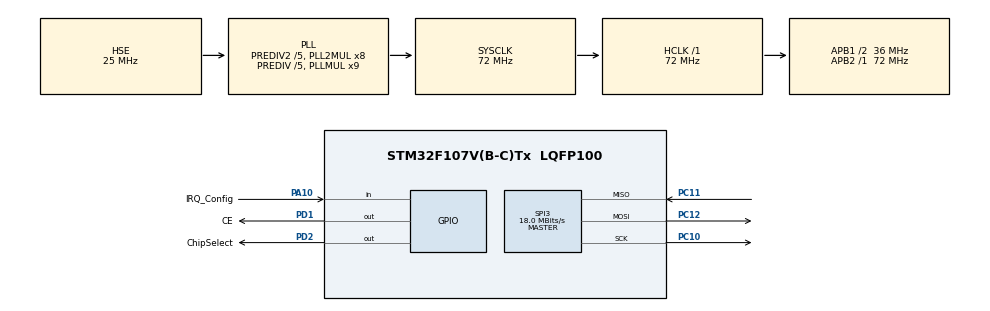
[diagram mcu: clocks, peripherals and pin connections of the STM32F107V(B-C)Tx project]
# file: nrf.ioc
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Mcu.Family=STM32F1
Mcu.Name=STM32F107V(B-C)Tx
Mcu.Package=LQFP100
NVIC.PriorityGroup=NVIC_PRIORITYGROUP_4
OSC_IN.Mode=HSE-External-Oscillator
OSC_IN.Signal=RCC_OSC_IN
OSC_OUT.Mode=HSE-External-Oscillator
OSC_OUT.Signal=RCC_OSC_OUT
PA10.GPIO_Label=IRQ_Config
PA10.GPIO_PuPd=GPIO_PULLUP
PA10.Signal=GPIO_Input
PA13.Mode=Serial_Wire
PA13.Signal=SYS_JTMS-SWDIO
PA14.Mode=Serial_Wire
PA14.Signal=SYS_JTCK-SWCLK
PC10.Mode=Full_Duplex_Master
PC10.Signal=SPI3_SCK
PC11.Mode=Full_Duplex_Master
PC11.Signal=SPI3_MISO
PC12.Mode=Full_Duplex_Master
PC12.Signal=SPI3_MOSI
PD1.GPIO_Label=CE
PD1.Signal=GPIO_Output
PD2.GPIO_Label=ChipSelect
PD2.Signal=GPIO_Output
ProjectManager.HeapSize=0x2000
ProjectManager.StackSize=0x4000
ProjectManager.TargetToolchain=MDK-ARM V5
RCC.AHBFreq_Value=72000000
RCC.APB1CLKDivider=RCC_HCLK_DIV2
RCC.APB1Freq_Value=36000000
RCC.APB1TimFreq_Value=72000000
RCC.APB2Freq_Value=72000000
RCC.APB2TimFreq_Value=72000000
RCC.HCLKFreq_Value=72000000
RCC.HSEDivPLL=RCC_HSE_PREDIV_DIV5
RCC.HSE_VALUE=25000000
RCC.PLLMUL=RCC_PLL_MUL9
RCC.PLLSourceVirtual=RCC_PLLSOURCE_HSE
RCC.Prediv1Source=RCC_PREDIV1_SOURCE_PLL2
RCC.Prediv2=RCC_HSE_PREDIV2_DIV5
RCC.SYSCLKFreq_VALUE=72000000
RCC.SYSCLKSource=RCC_SYSCLKSOURCE_PLLCLK
RCC.USBFreq_Value=48000000
SPI3.CalculateBaudRate=18.0 MBits/s
SPI3.Direction=SPI_DIRECTION_2LINES
SPI3.Mode=SPI_MODE_MASTER
SPI3.VirtualType=VM_MASTER
board=nrf

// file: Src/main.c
/**
  ******************************************************************************
  * @file           : main.c
  * @brief          : Main program body
  ******************************************************************************
  ** This notice applies to any and all portions of this file
  * that are not between comment pairs USER CODE BEGIN and
  * USER CODE END. Other portions of this file, whether
  * inserted by the user or by software development tools
  * are owned by their respective copyright owners.
  *
  * COPYRIGHT(c) 2018 STMicroelectronics
  *
  * Redistribution and use in source and binary forms, with or without modification,
  * are permitted provided that the following conditions are met:
  *   1. Redistributions of source code must retain the above copyright notice,
  *      this list of conditions and the following disclaimer.
  *   2. Redistributions in binary form must reproduce the above copyright notice,
  *      this list of conditions and the following disclaimer in the documentation
  *      and/or other materials provided with the distribution.
  *   3. Neither the name of STMicroelectronics nor the names of its contributors
  *      may be used to endorse or promote products derived from this software
  *      without specific prior written permission.
  *
  * THIS SOFTWARE IS PROVIDED BY THE COPYRIGHT HOLDERS AND CONTRIBUTORS "AS IS"
  * AND ANY EXPRESS OR IMPLIED WARRANTIES, INCLUDING, BUT NOT LIMITED TO, THE
  * IMPLIED WARRANTIES OF MERCHANTABILITY AND FITNESS FOR A PARTICULAR PURPOSE ARE
  * DISCLAIMED. IN NO EVENT SHALL THE COPYRIGHT HOLDER OR CONTRIBUTORS BE LIABLE
  * FOR ANY DIRECT, INDIRECT, INCIDENTAL, SPECIAL, EXEMPLARY, OR CONSEQUENTIAL
  * DAMAGES (INCLUDING, BUT NOT LIMITED TO, PROCUREMENT OF SUBSTITUTE GOODS OR
  * SERVICES; LOSS OF USE, DATA, OR PROFITS; OR BUSINESS INTERRUPTION) HOWEVER
  * CAUSED AND ON ANY THEORY OF LIABILITY, WHETHER IN CONTRACT, STRICT LIABILITY,
  * OR TORT (INCLUDING NEGLIGENCE OR OTHERWISE) ARISING IN ANY WAY OUT OF THE USE
  * OF THIS SOFTWARE, EVEN IF ADVISED OF THE POSSIBILITY OF SUCH DAMAGE.
  *
  ******************************************************************************
  */
#include "main.h"
#include "stm32f1xx_hal.h"

SPI_HandleTypeDef hspi3;
DMA_HandleTypeDef hdma_spi3_tx;

/* USER CODE BEGIN PV */
/* Private variables ---------------------------------------------------------*/

#define RXBUFSIZE 64
#define uchar unsigned char
#define TX_ADR_WIDTH    5   // 5 bytes TX(RX) address width
#define RX_ADR_WIDTH    5   	// 5 uints RX address width
#define TX_PLOAD_WIDTH  16  // 20 bytes TX payload
#define RX_PLOAD_WIDTH  16  	// 16 uints TX payload
unsigned char rx_buf[TX_PLOAD_WIDTH];
unsigned char tx_buf[TX_PLOAD_WIDTH];
unsigned char flag,CurrentData;

unsigned char  TX_ADDRESS[TX_ADR_WIDTH]= {0x34,0x43,0x10,0x10,0xe7};	//????
unsigned char  RX_ADDRESS[RX_ADR_WIDTH]= {0x34,0x43,0x10,0x10,0xe7};	//????
volatile char isSend;

/****************************************************************************************/
#define READ_REGL        0x00  // Define read command to register
#define WRITE_REGL       0x20  // Define write command to register
#define RD_RX_PLOAD     0x61  // Define RX payload register address
#define WR_TX_PLOAD     0xA0  // Define TX payload register address
#define FLUSH_TX        0xE1  // Define flush TX register command
#define FLUSH_RX        0xE2  // Define flush RX register command
#define REUSE_TX_PL     0xE3  // Define reuse TX payload register command
#define NOP             0xFF  // Define No Operation, might be used to read status register

#define CONFIG          0x00  // 'Config' register address
#define EN_AA           0x01  // 'Enable Auto Acknowledgment' register address
#define EN_RXADDR       0x02  // 'Enabled RX addresses' register address
#define SETUP_AW        0x03  // 'Setup address width' register address
#define SETUP_RETR      0x04  // 'Setup Auto. Retrans' register address
#define RF_CH           0x05  // 'RF channel' register address
#define RF_SETUP        0x06  // 'RF setup' register address
#define STATUS          0x07  // 'Status' register address
#define OBSERVE_TX      0x08  // 'Observe TX' register address
#define CD              0x09  // 'Carrier Detect' register address
#define RX_ADDR_P0      0x0A  // 'RX address pipe0' register address
#define RX_ADDR_P1      0x0B  // 'RX address pipe1' register address
#define RX_ADDR_P2      0x0C  // 'RX address pipe2' register address
#define RX_ADDR_P3      0x0D  // 'RX address pipe3' register address
#define RX_ADDR_P4      0x0E  // 'RX address pipe4' register address
#define RX_ADDR_P5      0x0F  // 'RX address pipe5' register address
#define TX_ADDR         0x10  // 'TX address' register address
#define RX_PW_P0        0x11  // 'RX payload width, pipe0' register address
#define RX_PW_P1        0x12  // 'RX payload width, pipe1' register address
#define RX_PW_P2        0x13  // 'RX payload width, pipe2' register address
#define RX_PW_P3        0x14  // 'RX payload width, pipe3' register address
#define RX_PW_P4        0x15  // 'RX payload width, pipe4' register address
#define RX_PW_P5        0x16  // 'RX payload width, pipe5' register address
#define FIFO_STATUS     0x17  // 'FIFO Status Register' register address

/* USER CODE END PV */

void SystemClock_Config(void);
static void MX_GPIO_Init(void);
static void MX_DMA_Init(void);
static void MX_SPI3_Init(void);

/* USER CODE BEGIN PFP */
/* Private function prototypes -----------------------------------------------*/

/* USER CODE END PFP */

/* USER CODE BEGIN 0 */
#define Receiver        0
#define Transmitter     !Receiver

#define Select_NRF()          HAL_GPIO_WritePin(ChipSelect_GPIO_Port , ChipSelect_Pin , GPIO_PIN_RESET)
#define NotSelect_NRF()       HAL_GPIO_WritePin(ChipSelect_GPIO_Port , ChipSelect_Pin , GPIO_PIN_SET)

#define NRF24L01_CE_LOW()     HAL_GPIO_WritePin(CE_GPIO_Port , CE_Pin , GPIO_PIN_RESET)
#define NRF24L01_CE_HIGH()    HAL_GPIO_WritePin(CE_GPIO_Port , CE_Pin , GPIO_PIN_SET)

unsigned char SPI1_NRF_SendByte(unsigned char byte)
{
    unsigned char Rec_data = 0;
    HAL_SPI_TransmitReceive(&hspi3,&byte,&Rec_data,1,1000);
    return Rec_data;
}

uint8_t SPI_RW_Reg(uint8_t reg, char value)
{
    unsigned int Data = 0;
    Select_NRF();
    Data=SPI1_NRF_SendByte(reg);
    SPI1_NRF_SendByte(value);
    NotSelect_NRF();
    return(Data);
}

unsigned char SPI_Read(unsigned char reg)
{
  unsigned char Data;
  Select_NRF();
  SPI1_NRF_SendByte(reg);
  Data=SPI1_NRF_SendByte(0);
  NotSelect_NRF();
  return (Data);
}

unsigned char SPI_Write_Buf(unsigned char reg, unsigned char *pBuf, unsigned char bytes)
{
	unsigned char status,byte_ctr;
  	Select_NRF();
  	status=SPI1_NRF_SendByte(reg);
  	for(byte_ctr=0; byte_ctr<bytes; byte_ctr++)
    {
		SPI1_NRF_SendByte(*pBuf++);
	}
  	NotSelect_NRF();
  	return(status);
}

unsigned char SPI_Read_Buf(unsigned char reg, unsigned char *pBuf, unsigned char bytes)
{
    unsigned char status,i;

    Select_NRF();
    status=SPI1_NRF_SendByte(reg);
    for(i=0; i<bytes; i++)
    {
      pBuf[i]=SPI1_NRF_SendByte(0);
    }
    NotSelect_NRF();
    return(status);
}

void Init_24L01(void)
{
  unsigned char Channel=0x20;
  unsigned char data=0;

  SPI_RW_Reg(WRITE_REGL + CONFIG,0x19);
  SPI_Read(READ_REGL + CONFIG);
  SPI_RW_Reg(WRITE_REGL + EN_AA,0x00);
  SPI_RW_Reg(WRITE_REGL + EN_RXADDR,0x01);
  SPI_RW_Reg(WRITE_REGL + SETUP_AW,0x03);
  SPI_RW_Reg(WRITE_REGL + SETUP_RETR,0x00);
  SPI_RW_Reg(WRITE_REGL + RF_CH,Channel);
  SPI_RW_Reg(WRITE_REGL + RF_SETUP,0x07);
  SPI_RW_Reg(WRITE_REGL + STATUS,0x70);
  SPI_Write_Buf(WRITE_REGL + RX_ADDR_P0, TX_ADDRESS, TX_ADR_WIDTH); // Use the same address on the RX device as the TX device
  SPI_Write_Buf(WRITE_REGL + TX_ADDR, TX_ADDRESS, TX_ADR_WIDTH);    // Writes TX_Address to nRF24L01
  SPI_RW_Reg(WRITE_REGL + RX_PW_P0,0x04);

  Select_NRF();
  SPI1_NRF_SendByte(0xE2);
  NotSelect_NRF();
  Select_NRF();
  SPI1_NRF_SendByte(0xE1);
  NotSelect_NRF();
	//-------------------------Read a register for test
   unsigned char redReg;
	 redReg=SPI_RW_Reg(READ_REGL + STATUS,0);
}

void send(uchar *Buffdata,uchar Length)
{
    HAL_Delay(3000);
    isSend = 1;
    NRF24L01_CE_LOW();
    SPI_RW_Reg(WRITE_REGL + CONFIG,0x1e);
    SPI_RW_Reg(FLUSH_TX,0);
    SPI_Write_Buf(WR_TX_PLOAD, Buffdata ,Length); 			// Writes data to TX payload
    NRF24L01_CE_HIGH();
    HAL_Delay(50);
    NRF24L01_CE_LOW();
    SPI_RW_Reg(WRITE_REGL + STATUS,0x70);
}

void Set_RF_RX_Mode(uchar DataLength)
{
    SPI_RW_Reg(WRITE_REGL + RX_PW_P0,DataLength);
    SPI_RW_Reg(WRITE_REGL + CONFIG,0x1f);
    SPI_RW_Reg(FLUSH_RX,0);
    NRF24L01_CE_HIGH();
}

char  RecNRF(uchar *Buffdata)
{
    if (isSend)
    {
        Set_RF_RX_Mode(32);
        HAL_Delay(50);
        isSend = 0;
    }
      CurrentData=SPI_Read(STATUS);		         // read register STATUS's value
      if(CurrentData == 0x40)				// if receive data ready (RX_DR) interrupt
      {
        memset(Buffdata,0,32);
        SPI_Read_Buf(RD_RX_PLOAD,Buffdata,32);		// read receive payload from RX_FIFO buffer
       SPI_RW_Reg(WRITE_REGL+STATUS,0X70);
        SPI_RW_Reg(FLUSH_RX,0);
        Set_RF_RX_Mode(32);

        return 1;
      }

      return 0;
}
/* USER CODE END 0 */

int main(void)
{
  /* USER CODE BEGIN 1 */
    unsigned char recbuff[32];
    int i;
    char state;
    unsigned char sendBuff[32]="1234567890.0987654321";
  /* USER CODE END 1 */

  /* MCU Configuration----------------------------------------------------------*/

  /* Reset of all peripherals, Initializes the Flash interface and the Systick. */
  HAL_Init();

  /* Configure the system clock */
  SystemClock_Config();

  /* Initialize all configured peripherals */
  MX_GPIO_Init();
  MX_DMA_Init();
  MX_SPI3_Init();
  /* USER CODE BEGIN 2 */
    Init_24L01();

    #if (Receiver == 1)
        Set_RF_RX_Mode(32);

    #endif

  /* USER CODE END 2 */

  /* Infinite loop */
  while (1)
  {

  /* USER CODE BEGIN 3 */
    #if (Receiver == 1)
        state  = RecNRF(recbuff);
        if( state== 1)
        {
            i++;
            state = 0;
        }
        #else
        send(sendBuff,32);
        HAL_Delay(2000);
      #endif
  }
  /* USER CODE END 3 */

}

void SystemClock_Config(void)
{

  RCC_OscInitTypeDef RCC_OscInitStruct;
  RCC_ClkInitTypeDef RCC_ClkInitStruct;

    /**Initializes the CPU, AHB and APB busses clocks
    */
  RCC_OscInitStruct.OscillatorType = RCC_OSCILLATORTYPE_HSE;
  RCC_OscInitStruct.HSEState = RCC_HSE_ON;
  RCC_OscInitStruct.HSEPredivValue = RCC_HSE_PREDIV_DIV5;
  RCC_OscInitStruct.HSIState = RCC_HSI_ON;
  RCC_OscInitStruct.Prediv1Source = RCC_PREDIV1_SOURCE_PLL2;
  RCC_OscInitStruct.PLL.PLLState = RCC_PLL_ON;
  RCC_OscInitStruct.PLL.PLLSource = RCC_PLLSOURCE_HSE;
  RCC_OscInitStruct.PLL.PLLMUL = RCC_PLL_MUL9;
  RCC_OscInitStruct.PLL2.PLL2State = RCC_PLL2_ON;
  RCC_OscInitStruct.PLL2.PLL2MUL = RCC_PLL2_MUL8;
  RCC_OscInitStruct.PLL2.HSEPrediv2Value = RCC_HSE_PREDIV2_DIV5;
  if (HAL_RCC_OscConfig(&RCC_OscInitStruct) != HAL_OK)
  {
    _Error_Handler(__FILE__, __LINE__);
  }

    /**Initializes the CPU, AHB and APB busses clocks
    */
  RCC_ClkInitStruct.ClockType = RCC_CLOCKTYPE_HCLK|RCC_CLOCKTYPE_SYSCLK
                              |RCC_CLOCKTYPE_PCLK1|RCC_CLOCKTYPE_PCLK2;
  RCC_ClkInitStruct.SYSCLKSource = RCC_SYSCLKSOURCE_PLLCLK;
  RCC_ClkInitStruct.AHBCLKDivider = RCC_SYSCLK_DIV1;
  RCC_ClkInitStruct.APB1CLKDivider = RCC_HCLK_DIV2;
  RCC_ClkInitStruct.APB2CLKDivider = RCC_HCLK_DIV1;

  if (HAL_RCC_ClockConfig(&RCC_ClkInitStruct, FLASH_LATENCY_2) != HAL_OK)
  {
    _Error_Handler(__FILE__, __LINE__);
  }

    /**Configure the Systick interrupt time
    */
  HAL_SYSTICK_Config(HAL_RCC_GetHCLKFreq()/1000);

    /**Configure the Systick
    */
  HAL_SYSTICK_CLKSourceConfig(SYSTICK_CLKSOURCE_HCLK);

    /**Configure the Systick interrupt time
    */
  __HAL_RCC_PLLI2S_ENABLE();

  /* SysTick_IRQn interrupt configuration */
  HAL_NVIC_SetPriority(SysTick_IRQn, 0, 0);
}

/* SPI3 init function */
static void MX_SPI3_Init(void)
{

  /* SPI3 parameter configuration*/
  hspi3.Instance = SPI3;
  hspi3.Init.Mode = SPI_MODE_MASTER;
  hspi3.Init.Direction = SPI_DIRECTION_2LINES;
  hspi3.Init.DataSize = SPI_DATASIZE_8BIT;
  hspi3.Init.CLKPolarity = SPI_POLARITY_LOW;
  hspi3.Init.CLKPhase = SPI_PHASE_1EDGE;
  hspi3.Init.NSS = SPI_NSS_SOFT;
  hspi3.Init.BaudRatePrescaler = SPI_BAUDRATEPRESCALER_2;
  hspi3.Init.FirstBit = SPI_FIRSTBIT_MSB;
  hspi3.Init.TIMode = SPI_TIMODE_DISABLE;
  hspi3.Init.CRCCalculation = SPI_CRCCALCULATION_DISABLE;
  hspi3.Init.CRCPolynomial = 10;
  if (HAL_SPI_Init(&hspi3) != HAL_OK)
  {
    _Error_Handler(__FILE__, __LINE__);
  }

}

/** Configure pins as
        * Analog
        * Input
        * Output
        * EVENT_OUT
        * EXTI
*/
static void MX_GPIO_Init(void)
{

  GPIO_InitTypeDef GPIO_InitStruct;

  /* GPIO Ports Clock Enable */
  __HAL_RCC_GPIOA_CLK_ENABLE();
  __HAL_RCC_GPIOC_CLK_ENABLE();
  __HAL_RCC_GPIOD_CLK_ENABLE();

  /*Configure GPIO pin Output Level */
  HAL_GPIO_WritePin(GPIOD, CE_Pin|ChipSelect_Pin, GPIO_PIN_RESET);

  /*Configure GPIO pin : IRQ_Config_Pin */
  GPIO_InitStruct.Pin = IRQ_Config_Pin;
  GPIO_InitStruct.Mode = GPIO_MODE_INPUT;
  GPIO_InitStruct.Pull = GPIO_PULLUP;
  HAL_GPIO_Init(IRQ_Config_GPIO_Port, &GPIO_InitStruct);

  /*Configure GPIO pins : CE_Pin ChipSelect_Pin */
  GPIO_InitStruct.Pin = CE_Pin|ChipSelect_Pin;
  GPIO_InitStruct.Mode = GPIO_MODE_OUTPUT_PP;
  GPIO_InitStruct.Speed = GPIO_SPEED_FREQ_LOW;
  HAL_GPIO_Init(GPIOD, &GPIO_InitStruct);

}

void _Error_Handler(char *file, int line)
{
  while(1)
  {
  }
}

/************************ (C) COPYRIGHT STMicroelectronics *****END OF FILE****/
